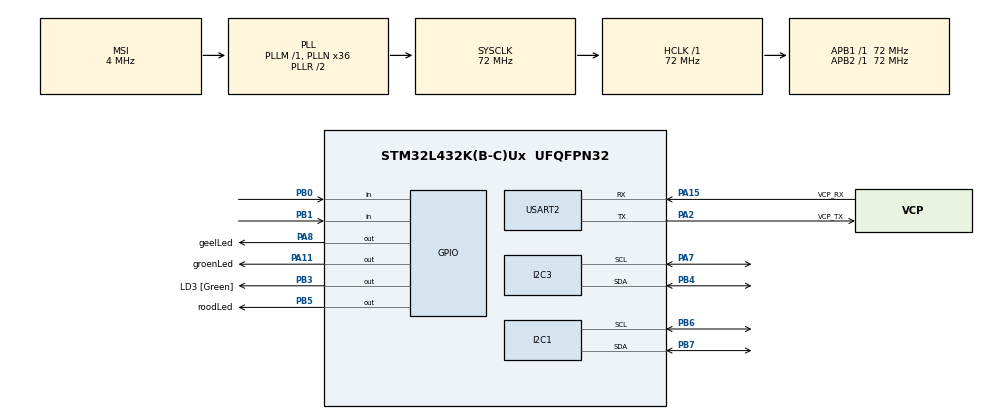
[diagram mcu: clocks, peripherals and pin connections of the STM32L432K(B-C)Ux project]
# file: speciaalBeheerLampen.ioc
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I2C1.OwnAddress=0x26
I2C1.Timing=0x10C18DCC
I2C3.Timing=0x10C18DCC
Mcu.Family=STM32L4
Mcu.Name=STM32L432K(B-C)Ux
Mcu.Package=UFQFPN32
NVIC.I2C1_ER_IRQn=true\:0\:0\:false\:false\:true\:true\:true\:true
NVIC.I2C1_EV_IRQn=true\:0\:0\:false\:false\:true\:true\:true\:true
NVIC.PriorityGroup=NVIC_PRIORITYGROUP_4
PA0.GPIO_Label=MCO [High speed clock in]
PA0.Mode=HSE-External-Clock-Source-for-LittleOrca
PA0.Signal=RCC_CK_IN
PA11.GPIO_Label=groenLed
PA11.Signal=GPIO_Output
PA13\ (JTMS-SWDIO).GPIO_Label=SWDIO
PA13\ (JTMS-SWDIO).Mode=Serial_Wire
PA13\ (JTMS-SWDIO).Signal=SYS_JTMS-SWDIO
PA14\ (JTCK-SWCLK).GPIO_Label=SWCLK
PA14\ (JTCK-SWCLK).Mode=Serial_Wire
PA14\ (JTCK-SWCLK).Signal=SYS_JTCK-SWCLK
PA15\ (JTDI).GPIO_Label=VCP_RX
PA15\ (JTDI).Mode=Asynchronous
PA15\ (JTDI).Signal=USART2_RX
PA2.GPIO_Label=VCP_TX
PA2.Mode=Asynchronous
PA2.Signal=USART2_TX
PA7.Mode=I2C
PA7.Signal=I2C3_SCL
PA8.GPIO_Label=geelLed
PA8.Signal=GPIO_Output
PB0.Signal=GPIO_Input
PB1.Signal=GPIO_Input
PB3\ (JTDO-TRACESWO).GPIO_Label=LD3 [Green]
PB3\ (JTDO-TRACESWO).Signal=GPIO_Output
PB4\ (NJTRST).Mode=I2C
PB4\ (NJTRST).Signal=I2C3_SDA
PB5.GPIO_Label=roodLed
PB5.Signal=GPIO_Output
PB5.Stacked=true
PB6.Mode=I2C
PB6.Signal=I2C1_SCL
PB7.Mode=I2C
PB7.Signal=I2C1_SDA
PC14-OSC32_IN\ (PC14).Mode=LSE-External-Oscillator
PC14-OSC32_IN\ (PC14).Signal=RCC_OSC32_IN
PC15-OSC32_OUT\ (PC15).Mode=LSE-External-Oscillator
PC15-OSC32_OUT\ (PC15).Signal=RCC_OSC32_OUT
ProjectManager.HeapSize=0x200
ProjectManager.StackSize=0x400
ProjectManager.TargetToolchain=STM32CubeIDE
RCC.AHBFreq_Value=72000000
RCC.APB1Freq_Value=72000000
RCC.APB1TimFreq_Value=72000000
RCC.APB2Freq_Value=72000000
RCC.APB2TimFreq_Value=72000000
RCC.CortexFreq_Value=72000000
RCC.HCLKFreq_Value=72000000
RCC.HSE_VALUE=8000000
RCC.HSI16_VALUE=16000000
RCC.HSI48_VALUE=48000000
RCC.HSI_VALUE=16000000
RCC.MSI_VALUE=4000000
RCC.PLLMUL=RCC_PLLMUL_4
RCC.PLLN=36
RCC.SYSCLKFreq_VALUE=72000000
RCC.SYSCLKSource=RCC_SYSCLKSOURCE_PLLCLK
RCC.VCOOutputFreq_Value=144000000
USART2.VirtualMode-Asynchronous=VM_ASYNC
board=NUCLEO-L432KC

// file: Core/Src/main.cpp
/* USER CODE BEGIN Header */
/**
  ******************************************************************************
  * @file           : main.c
  * @brief          : Main program body
  ******************************************************************************
  * @attention
  *
  * Copyright (c) 2025 STMicroelectronics.
  * All rights reserved.
  *
  * This software is licensed under terms that can be found in the LICENSE file
  * in the root directory of this software component.
  * If no LICENSE file comes with this software, it is provided AS-IS.
  *
  ******************************************************************************
  */
/* USER CODE END Header */
#include "main.h"

/* USER CODE BEGIN Includes */
#include "i2cBeheer.hpp"
#include "groeneLed.h"
#include "geleLed.h"
#include "rodeLed.h"
#include <vector>
#include "alleDefines.h"
#include "bewegingsensor.h"

extern "C" {
    #include "crc8.h"
}
#include <stdbool.h>
extern "C" {
    #include "co2sensor_stm.h"
}
#include <stdio.h>
#include <string.h>
/* USER CODE END Includes */

I2C_HandleTypeDef hi2c1;
I2C_HandleTypeDef hi2c3;

UART_HandleTypeDef huart2;

/* USER CODE BEGIN PV */
I2CBeheer i2c;

/* USER CODE END PV */

void SystemClock_Config(void);
static void MX_GPIO_Init(void);
static void MX_USART2_UART_Init(void);
static void MX_I2C1_Init(void);
static void MX_I2C3_Init(void);

int main(void)
{

  /* MCU Configuration--------------------------------------------------------*/

  /* Reset of all peripherals, Initializes the Flash interface and the Systick. */
  HAL_Init();

  /* Configure the system clock */
  SystemClock_Config();

  /* Initialize all configured peripherals */
  MX_GPIO_Init();
  MX_USART2_UART_Init();
  MX_I2C1_Init();
  MX_I2C3_Init();
  /* USER CODE BEGIN 2 */

  uint8_t scrollData[200];   // Buffer voor scrollkolommen
       int len_str, len_num, total_len;

       for (uint8_t addr = 1; addr < 0x78; addr++) {
           if (HAL_I2C_IsDeviceReady(&hi2c3, addr << 1, 3, 100) == HAL_OK) {
               char s[32];
               int n = snprintf(s, sizeof(s), "Found device at 0x%02X\r\n", addr);
               HAL_UART_Transmit(&huart2, (uint8_t*)s, n, HAL_MAX_DELAY);
           }
       }
       uint16_t co2, tvoc; // Variabelen voor CO2 en TVOC waarden
       char init_msg[] = "SGP30 gestart\r\n";
       HAL_UART_Transmit(&huart2, (uint8_t*)init_msg, strlen(init_msg), HAL_MAX_DELAY);
       char msg[64];

       SGP30_init();

  HAL_GPIO_WritePin(groenLed_GPIO_Port, groenLed_Pin, GPIO_PIN_SET);

 // HAL_GPIO_WritePin(GPIOB, LD3_Pin|geelLed_Pin|roodLed_Pin, GPIO_PIN_SET);
  groeneLed groen;
  geleLed geel;
  rodeLed rood;

  Bewegingssensor bws;

  std::vector<uint8_t> Ids = { BEWEGINGSENSOR, CO2SENSOR, ROODLAMP, GROENLAMP, GEELLAMP};
  i2c.I2CInit(Ids, &geel, &groen, &rood, &bws);

  HAL_I2C_EnableListen_IT(&hi2c1);

  /* USER CODE END 2 */

  /* Infinite loop */
  while (1)
  {

    /* USER CODE BEGIN 3 */
	  bws.CheckWaarde();
	  if (SGP30_read(&co2, &tvoc) == 1) {
	 		            int len = snprintf(msg, sizeof(msg), "eCO2: %u ppm, TVOC: %u ppb\r\n", co2, tvoc);
	 		            // Verzend via UART
	 		            HAL_UART_Transmit(&huart2, (uint8_t*)msg, len, HAL_MAX_DELAY);
	 	            } else {
	 		            char err_msg[] = "SGP30 leesfout\r\n";
	 		            HAL_UART_Transmit(&huart2, (uint8_t*)err_msg, strlen(err_msg), HAL_MAX_DELAY);
	 	            }

  }
  /* USER CODE END 3 */
}

void SystemClock_Config(void)
{
  RCC_OscInitTypeDef RCC_OscInitStruct = {0};
  RCC_ClkInitTypeDef RCC_ClkInitStruct = {0};

  /** Configure the main internal regulator output voltage
  */
  if (HAL_PWREx_ControlVoltageScaling(PWR_REGULATOR_VOLTAGE_SCALE1) != HAL_OK)
  {
    Error_Handler();
  }

  /** Configure LSE Drive Capability
  */
  HAL_PWR_EnableBkUpAccess();
  __HAL_RCC_LSEDRIVE_CONFIG(RCC_LSEDRIVE_LOW);

  /** Initializes the RCC Oscillators according to the specified parameters
  * in the RCC_OscInitTypeDef structure.
  */
  RCC_OscInitStruct.OscillatorType = RCC_OSCILLATORTYPE_LSE|RCC_OSCILLATORTYPE_MSI;
  RCC_OscInitStruct.LSEState = RCC_LSE_ON;
  RCC_OscInitStruct.MSIState = RCC_MSI_ON;
  RCC_OscInitStruct.MSICalibrationValue = 0;
  RCC_OscInitStruct.MSIClockRange = RCC_MSIRANGE_6;
  RCC_OscInitStruct.PLL.PLLState = RCC_PLL_ON;
  RCC_OscInitStruct.PLL.PLLSource = RCC_PLLSOURCE_MSI;
  RCC_OscInitStruct.PLL.PLLM = 1;
  RCC_OscInitStruct.PLL.PLLN = 36;
  RCC_OscInitStruct.PLL.PLLP = RCC_PLLP_DIV7;
  RCC_OscInitStruct.PLL.PLLQ = RCC_PLLQ_DIV2;
  RCC_OscInitStruct.PLL.PLLR = RCC_PLLR_DIV2;
  if (HAL_RCC_OscConfig(&RCC_OscInitStruct) != HAL_OK)
  {
    Error_Handler();
  }

  /** Initializes the CPU, AHB and APB buses clocks
  */
  RCC_ClkInitStruct.ClockType = RCC_CLOCKTYPE_HCLK|RCC_CLOCKTYPE_SYSCLK
                              |RCC_CLOCKTYPE_PCLK1|RCC_CLOCKTYPE_PCLK2;
  RCC_ClkInitStruct.SYSCLKSource = RCC_SYSCLKSOURCE_PLLCLK;
  RCC_ClkInitStruct.AHBCLKDivider = RCC_SYSCLK_DIV1;
  RCC_ClkInitStruct.APB1CLKDivider = RCC_HCLK_DIV1;
  RCC_ClkInitStruct.APB2CLKDivider = RCC_HCLK_DIV1;

  if (HAL_RCC_ClockConfig(&RCC_ClkInitStruct, FLASH_LATENCY_4) != HAL_OK)
  {
    Error_Handler();
  }

  /** Enable MSI Auto calibration
  */
  HAL_RCCEx_EnableMSIPLLMode();
}

static void MX_I2C1_Init(void)
{

  hi2c1.Instance = I2C1;
  hi2c1.Init.Timing = 0x10C18DCC;
  hi2c1.Init.OwnAddress1 = 76;
  hi2c1.Init.AddressingMode = I2C_ADDRESSINGMODE_7BIT;
  hi2c1.Init.DualAddressMode = I2C_DUALADDRESS_DISABLE;
  hi2c1.Init.OwnAddress2 = 0;
  hi2c1.Init.OwnAddress2Masks = I2C_OA2_NOMASK;
  hi2c1.Init.GeneralCallMode = I2C_GENERALCALL_DISABLE;
  hi2c1.Init.NoStretchMode = I2C_NOSTRETCH_DISABLE;
  if (HAL_I2C_Init(&hi2c1) != HAL_OK)
  {
    Error_Handler();
  }

  /** Configure Analogue filter
  */
  if (HAL_I2CEx_ConfigAnalogFilter(&hi2c1, I2C_ANALOGFILTER_ENABLE) != HAL_OK)
  {
    Error_Handler();
  }

  /** Configure Digital filter
  */
  if (HAL_I2CEx_ConfigDigitalFilter(&hi2c1, 0) != HAL_OK)
  {
    Error_Handler();
  }

}

static void MX_I2C3_Init(void)
{

  hi2c3.Instance = I2C3;
  hi2c3.Init.Timing = 0x10C18DCC;
  hi2c3.Init.OwnAddress1 = 0;
  hi2c3.Init.AddressingMode = I2C_ADDRESSINGMODE_7BIT;
  hi2c3.Init.DualAddressMode = I2C_DUALADDRESS_DISABLE;
  hi2c3.Init.OwnAddress2 = 0;
  hi2c3.Init.OwnAddress2Masks = I2C_OA2_NOMASK;
  hi2c3.Init.GeneralCallMode = I2C_GENERALCALL_DISABLE;
  hi2c3.Init.NoStretchMode = I2C_NOSTRETCH_DISABLE;
  if (HAL_I2C_Init(&hi2c3) != HAL_OK)
  {
    Error_Handler();
  }

  /** Configure Analogue filter
  */
  if (HAL_I2CEx_ConfigAnalogFilter(&hi2c3, I2C_ANALOGFILTER_ENABLE) != HAL_OK)
  {
    Error_Handler();
  }

  /** Configure Digital filter
  */
  if (HAL_I2CEx_ConfigDigitalFilter(&hi2c3, 0) != HAL_OK)
  {
    Error_Handler();
  }

}

static void MX_USART2_UART_Init(void)
{

  huart2.Instance = USART2;
  huart2.Init.BaudRate = 115200;
  huart2.Init.WordLength = UART_WORDLENGTH_8B;
  huart2.Init.StopBits = UART_STOPBITS_1;
  huart2.Init.Parity = UART_PARITY_NONE;
  huart2.Init.Mode = UART_MODE_TX_RX;
  huart2.Init.HwFlowCtl = UART_HWCONTROL_NONE;
  huart2.Init.OverSampling = UART_OVERSAMPLING_16;
  huart2.Init.OneBitSampling = UART_ONE_BIT_SAMPLE_DISABLE;
  huart2.AdvancedInit.AdvFeatureInit = UART_ADVFEATURE_NO_INIT;
  if (HAL_UART_Init(&huart2) != HAL_OK)
  {
    Error_Handler();
  }

}

static void MX_GPIO_Init(void)
{
  GPIO_InitTypeDef GPIO_InitStruct = {0};

  /* GPIO Ports Clock Enable */
  __HAL_RCC_GPIOC_CLK_ENABLE();
  __HAL_RCC_GPIOA_CLK_ENABLE();
  __HAL_RCC_GPIOB_CLK_ENABLE();

  /*Configure GPIO pin Output Level */
  HAL_GPIO_WritePin(GPIOA, geelLed_Pin|groenLed_Pin, GPIO_PIN_RESET);

  /*Configure GPIO pin Output Level */
  HAL_GPIO_WritePin(GPIOB, LD3_Pin|roodLed_Pin, GPIO_PIN_RESET);

  /*Configure GPIO pins : PB0 PB1 */
  GPIO_InitStruct.Pin = GPIO_PIN_0|GPIO_PIN_1;
  GPIO_InitStruct.Mode = GPIO_MODE_INPUT;
  GPIO_InitStruct.Pull = GPIO_NOPULL;
  HAL_GPIO_Init(GPIOB, &GPIO_InitStruct);

  /*Configure GPIO pins : geelLed_Pin groenLed_Pin */
  GPIO_InitStruct.Pin = geelLed_Pin|groenLed_Pin;
  GPIO_InitStruct.Mode = GPIO_MODE_OUTPUT_PP;
  GPIO_InitStruct.Pull = GPIO_NOPULL;
  GPIO_InitStruct.Speed = GPIO_SPEED_FREQ_LOW;
  HAL_GPIO_Init(GPIOA, &GPIO_InitStruct);

  /*Configure GPIO pins : LD3_Pin roodLed_Pin */
  GPIO_InitStruct.Pin = LD3_Pin|roodLed_Pin;
  GPIO_InitStruct.Mode = GPIO_MODE_OUTPUT_PP;
  GPIO_InitStruct.Pull = GPIO_NOPULL;
  GPIO_InitStruct.Speed = GPIO_SPEED_FREQ_LOW;
  HAL_GPIO_Init(GPIOB, &GPIO_InitStruct);

}

void Error_Handler(void)
{
  __disable_irq();
  while (1)
  {
  }
}
